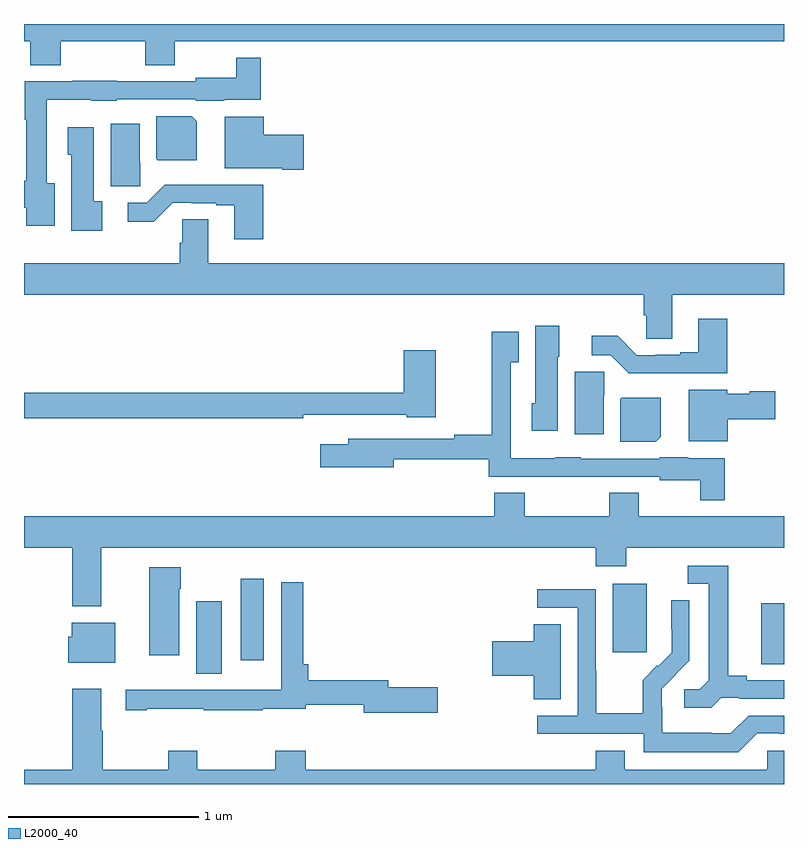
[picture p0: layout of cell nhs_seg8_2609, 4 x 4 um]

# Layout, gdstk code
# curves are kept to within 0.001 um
import gdstk
lib = gdstk.Library(unit=1e-6, precision=1e-09)
def R(c, l, rs):  # rectangles x0, y0, x1, y1
    for r in rs: c.add(gdstk.rectangle(r[:2], r[2:], *l))
def P(c, l, *ps):  # polygons
    for p in ps: c.add(gdstk.Polygon(p, *l))
L2000_40 = (2000, 40)

nhs_seg8_2609 = lib.new_cell('nhs_seg8_2609')
R(nhs_seg8_2609, L2000_40, [(275.906,1138.48,276.04,1138.861), (278.879,1138.531,279,1138.851), (276.14,1138.551,276.262,1138.981), (278.099,1138.593,278.278,1138.954)])
P(nhs_seg8_2609, L2000_40, [(275.193,1141.808),(275.638,1141.808),(275.638,1141.684),(275.793,1141.684),(275.793,1141.808),(279,1141.808),(279,1141.9),(275,1141.9),(275,1141.808),(275.033,1141.808),(275.033,1141.684),(275.193,1141.684)],
  [(275.161,1141.063),(275.121,1141.063),(275.121,1141.502),(275.355,1141.502),(275.355,1141.496),(275.487,1141.496),(275.487,1141.503),(275.904,1141.503),(275.904,1141.496),(276.054,1141.496),(276.054,1141.502),(276.245,1141.502),(276.245,1141.723),(276.117,1141.723),(276.117,1141.618),(275.904,1141.618),(275.904,1141.599),(275.487,1141.599),(275.487,1141.601),(275.255,1141.601),(275.255,1141.599),(275.005,1141.599),(275.005,1141.396),(275.013,1141.396),(275.013,1141.076),(275,1141.076),(275,1140.934),(275.012,1140.934),(275.012,1140.837),(275.161,1140.837)],
  [(275.908,1141.388),(275.882,1141.414),(275.696,1141.414),(275.696,1141.192),(275.704,1141.184),(275.908,1141.184)],
  [(276.472,1141.316),(276.262,1141.316),(276.262,1141.412),(276.056,1141.412),(276.056,1141.142),(276.359,1141.142),(276.359,1141.133),(276.472,1141.133)],
  [(275.612,1141.17),(275.608,1141.17),(275.608,1141.375),(275.456,1141.375),(275.456,1141.047),(275.612,1141.047)],
  [(275.413,1140.966),(275.368,1140.966),(275.368,1141.357),(275.231,1141.357),(275.231,1141.212),(275.249,1141.212),(275.249,1140.812),(275.413,1140.812)],
  [(276.26,1141.055),(275.741,1141.055),(275.646,1140.96),(275.547,1140.96),(275.547,1140.858),(275.682,1140.858),(275.784,1140.96),(275.884,1140.96),(275.884,1140.957),(276.011,1140.957),(276.011,1140.945),(276.107,1140.945),(276.107,1140.768),(276.26,1140.768)],
  [(278.413,1140.476),(279,1140.476),(279,1140.64),(275.971,1140.64),(275.971,1140.872),(275.832,1140.872),(275.832,1140.75),(275.819,1140.75),(275.819,1140.64),(275,1140.64),(275,1140.476),(278.261,1140.476),(278.261,1140.366),(278.274,1140.366),(278.274,1140.244),(278.413,1140.244)],
  [(278.702,1140.349),(278.549,1140.349),(278.549,1140.172),(278.453,1140.172),(278.453,1140.159),(278.326,1140.159),(278.326,1140.156),(278.226,1140.156),(278.124,1140.259),(277.989,1140.259),(277.989,1140.156),(278.088,1140.156),(278.183,1140.062),(278.702,1140.062)],
  [(277.81,1140.15),(277.816,1140.15),(277.816,1140.313),(277.691,1140.313),(277.691,1139.904),(277.673,1139.904),(277.673,1139.76),(277.81,1139.76)],
  [(278.687,1139.614),(278.496,1139.614),(278.496,1139.62),(278.346,1139.62),(278.346,1139.613),(277.929,1139.613),(277.929,1139.62),(277.797,1139.62),(277.797,1139.614),(277.563,1139.614),(277.563,1140.119),(277.603,1140.119),(277.603,1140.28),(277.462,1140.28),(277.462,1139.738),(277.264,1139.738),(277.264,1139.718),(276.707,1139.718),(276.707,1139.689),(276.558,1139.689),(276.558,1139.567),(276.946,1139.567),(276.946,1139.61),(277.447,1139.61),(277.447,1139.517),(277.697,1139.517),(277.697,1139.516),(277.929,1139.516),(277.929,1139.517),(278.346,1139.517),(278.346,1139.498),(278.559,1139.498),(278.559,1139.393),(278.687,1139.393)],
  [(276.47,1139.844),(277.014,1139.844),(277.014,1139.831),(277.168,1139.831),(277.168,1140.184),(276.998,1140.184),(276.998,1139.96),(275,1139.96),(275,1139.824),(276.47,1139.824)],
  [(278.05,1139.946),(278.054,1139.946),(278.054,1140.069),(277.898,1140.069),(277.898,1139.742),(278.05,1139.742)],
  [(278.704,1139.819),(278.953,1139.819),(278.953,1139.966),(278.82,1139.966),(278.82,1139.953),(278.7,1139.953),(278.7,1139.974),(278.498,1139.974),(278.498,1139.705),(278.704,1139.705)],
  [(278.35,1139.728),(278.35,1139.932),(278.146,1139.932),(278.138,1139.924),(278.138,1139.702),(278.324,1139.702)],
  [(275.407,1139.144),(278.009,1139.144),(278.009,1139.045),(278.169,1139.045),(278.169,1139.144),(279,1139.144),(279,1139.308),(278.235,1139.308),(278.235,1139.432),(278.08,1139.432),(278.08,1139.308),(277.635,1139.308),(277.635,1139.432),(277.475,1139.432),(277.475,1139.308),(275,1139.308),(275,1139.144),(275.255,1139.144),(275.255,1138.835),(275.407,1138.835)],
  [(278.67,1138.353),(278.764,1138.353),(278.764,1138.35),(279,1138.35),(279,1138.446),(278.803,1138.446),(278.803,1138.469),(278.707,1138.469),(278.707,1139.049),(278.493,1139.049),(278.493,1138.953),(278.603,1138.953),(278.603,1138.445),(278.556,1138.398),(278.475,1138.398),(278.475,1138.301),(278.618,1138.301)],
  [(275.818,1138.928),(275.826,1138.928),(275.826,1139.041),(275.66,1139.041),(275.66,1138.578),(275.818,1138.578)],
  [(277.177,1138.409),(276.916,1138.409),(276.916,1138.445),(276.497,1138.445),(276.497,1138.531),(276.47,1138.531),(276.47,1138.963),(276.354,1138.963),(276.354,1138.396),(276.144,1138.396),(276.144,1138.395),(275.81,1138.395),(275.81,1138.397),(275.535,1138.397),(275.535,1138.287),(275.647,1138.287),(275.647,1138.297),(275.947,1138.297),(275.947,1138.287),(276.257,1138.287),(276.257,1138.297),(276.484,1138.297),(276.484,1138.317),(276.788,1138.317),(276.788,1138.274),(277.177,1138.274)],
  [(278.859,1138.167),(278.975,1138.167),(278.975,1138.164),(279,1138.164),(279,1138.26),(278.814,1138.26),(278.721,1138.167),(278.621,1138.167),(278.621,1138.171),(278.358,1138.171),(278.358,1138.305),(278.356,1138.305),(278.356,1138.402),(278.502,1138.55),(278.502,1138.868),(278.406,1138.868),(278.406,1138.714),(278.408,1138.714),(278.408,1138.592),(278.337,1138.521),(278.334,1138.524),(278.257,1138.447),(278.257,1138.273),(278.013,1138.273),(278.013,1138.496),(278.01,1138.496),(278.01,1138.926),(277.701,1138.926),(277.701,1138.827),(277.914,1138.827),(277.914,1138.26),(277.701,1138.26),(277.701,1138.164),(278.262,1138.164),(278.262,1138.067),(278.759,1138.067)],
  [(275.479,1138.75),(275.252,1138.75),(275.252,1138.674),(275.234,1138.674),(275.234,1138.538),(275.479,1138.538)],
  [(277.825,1138.742),(277.682,1138.742),(277.682,1138.652),(277.464,1138.652),(277.464,1138.469),(277.682,1138.469),(277.682,1138.345),(277.825,1138.345)],
  [(278.161,1138.075),(278.009,1138.075),(278.009,1137.976),(276.482,1137.976),(276.482,1138.075),(276.322,1138.075),(276.322,1137.976),(275.913,1137.976),(275.913,1138.075),(275.758,1138.075),(275.758,1137.976),(275.415,1137.976),(275.415,1138.181),(275.407,1138.181),(275.407,1138.402),(275.255,1138.402),(275.255,1137.976),(275,1137.976),(275,1137.9),(279,1137.9),(279,1138.074),(278.913,1138.074),(278.913,1137.976),(278.161,1137.976)])

lib.write_gds('nhs_seg8_2609.gds')
